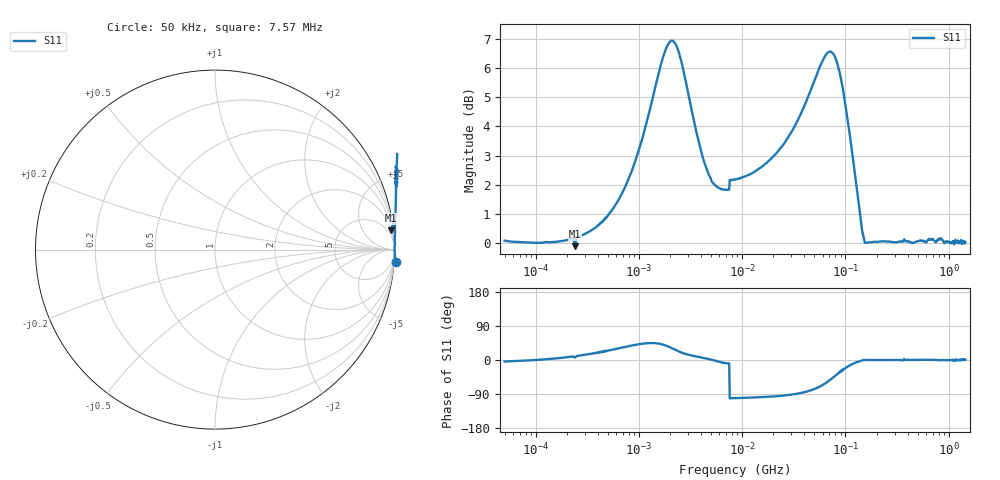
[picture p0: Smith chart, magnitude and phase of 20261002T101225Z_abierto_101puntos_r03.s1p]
! piloto_saltos / abierto_101puntos / r03
# HZ S RI R 50
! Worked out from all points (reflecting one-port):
!   501 points, 50 kHz to 1.45 GHz, reference 50 ohm
!   lowest |S11| = -0.1 dB at 240 kHz (marker M1), VSWR 159.02, Z = 104 + j902 ohm
!   phase of S11 starts at -4 deg and turns +4 deg over the sweep
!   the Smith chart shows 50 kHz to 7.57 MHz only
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50000  1.007 -0.0698
183000  1.003 0.1061
240000  0.9816 0.1077
658000  1.021 0.6296
1180000  1.152 1.117
1630000  1.5 1.356
1990000  1.84 1.232
2440000  1.962 0.8067
2890000  1.802 0.4853
3340000  1.617 0.3155
4690000  1.316 0.0692
7300000  1.22 -0.1918
7750000  -0.2411 -1.259
8560000  -0.235 -1.263
1.81e7  -0.1686 -1.373
3.16e7  -0.0118 -1.576
4.69e7  0.3389 -1.812
5.68e7  0.7 -1.886
6.49e7  1.046 -1.827
7.39e7  1.398 -1.597
8.65e7  1.651 -1.099
9.82e7  1.627 -0.6719
1e8  1.61 -0.6201
1.18e8  1.377 -0.2448
1.36e8  1.148 -0.0694
1.63e8  1.001 -0.000347
4.06e8  1.007 0.0195
1.45e9  1.003 0.00619
